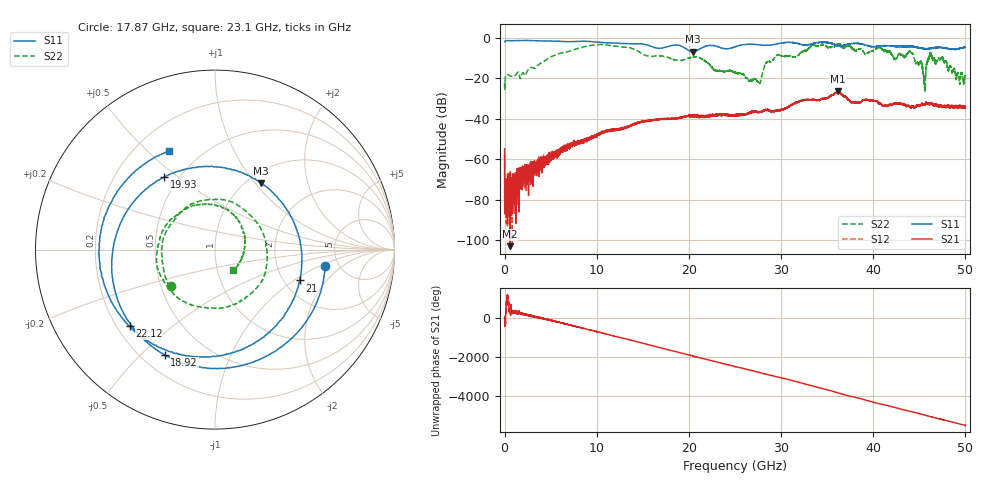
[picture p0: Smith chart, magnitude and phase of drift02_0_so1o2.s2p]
!Created with skrf (http://scikit-rf.org).
# Hz S RI R 50.0
!freq ReS11 ImS11 ReS21 ImS21 ReS12 ImS12 ReS22 ImS22
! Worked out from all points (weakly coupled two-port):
!   10001 points, 300 kHz to 50 GHz, reference 50 ohm
!   highest |S21| = -26.35 dB at 36.14 GHz (marker M1); lowest = -102.9 dB at 580.3 MHz (marker M2)
!   lowest |S11| = -6.9 dB at 20.43 GHz (marker M3), VSWR 2.64, Z = 57.9 + j53.6 ohm
!   |S11| at or under -10 dB: nowhere
!   |S22| runs from -26.4 to -2.7 dB; largest |S21 - S12| = 0.0046
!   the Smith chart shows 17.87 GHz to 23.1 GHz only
!   S11 on the Smith chart (normalised r, x): 17.87 GHz: 3.90, -1.16; 18.92 GHz: 0.29, -0.59; 19.93 GHz: 0.42, +0.45; 21 GHz: 2.43, -1.12; 22.12 GHz: 0.25, -0.36; 23.1 GHz: 0.34, +0.59
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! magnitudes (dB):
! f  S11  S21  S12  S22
! 300 kHz  -2.1  -54.8  -57.9  -22.1
! 255.3 MHz  -1.4  -70.9  -81.9  -18.2
! 580.3 MHz  -1.5  -102.9  -77.3  -18.9
! 8.335 GHz  -1.7  -51.2  -51.0  -4.8
! 16.67 GHz  -5.2  -40.3  -40.4  -8.9
! 17.87 GHz  -4.1  -39.9  -40.1  -9.9
! 18.92 GHz  -3.7  -39.8  -39.7  -11.0
! 19.93 GHz  -6.1  -38.5  -38.7  -10.0
! 20.43 GHz  -6.9  -38.6  -38.1  -9.6
! 21 GHz  -6.0  -38.6  -38.7  -9.5
! 22.12 GHz  -3.9  -38.9  -38.8  -12.7
! 23.1 GHz  -4.3  -38.6  -38.2  -16.3
! 25 GHz  -4.5  -38.4  -38.5  -17.2
! 27.59 GHz  -3.5  -36.6  -36.7  -22.2
! 28.5 GHz  -3.7  -35.6  -35.7  -12.0
! 33.34 GHz  -3.1  -30.6  -30.6  -3.7
! 36.14 GHz  -3.9  -26.4  -27.0  -3.2
! 41.67 GHz  -4.0  -33.5  -33.4  -6.5
! 44.12 GHz  -4.2  -34.5  -34.5  -7.4
! 45.5 GHz  -5.4  -33.2  -32.9  -19.1
! 46.22 GHz  -5.2  -32.4  -32.2  -8.0
! 50 GHz  -4.7  -34.3  -34.5  -18.8
